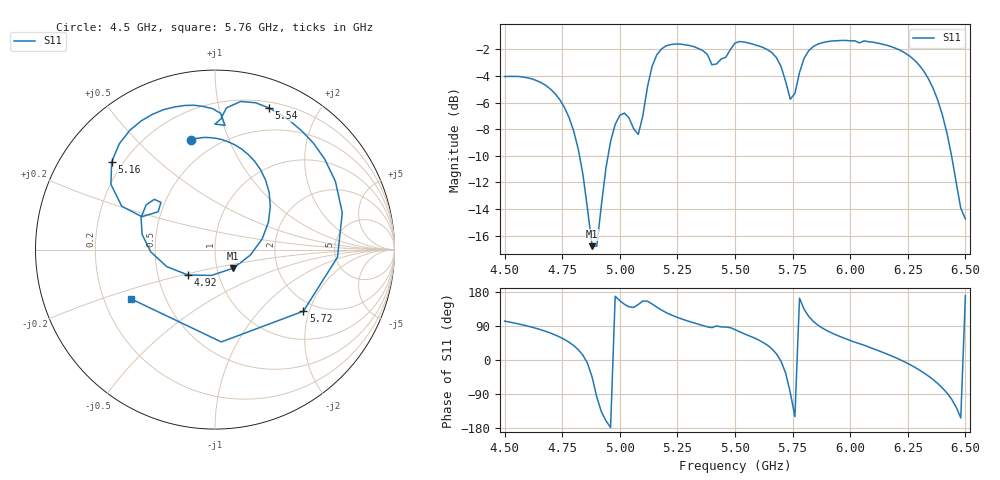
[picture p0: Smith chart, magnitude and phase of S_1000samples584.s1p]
! TOUCHSTONE file generated by CST MICROWAVE STUDIO
! Date and time: Fri Oct 28 16:41:40 2022
! Project name: L.cst
! Parameters = {Di=1.27; Epsilon_r=1.56; InnerDiameter=1.27; Length=2; Lf=10; Lg=60; OuterConductorThickness=0.2921; OuterDiameter=3.6; Wf=3; Wp=41.2; de=1.5; df=6.8; g=0.8; gx=0.94312; gy=0.482222; h=2.34; hf=1.524; px=14.6622; py=9.86047; w=9.7; wx=13.719; wy=9.37824}
! Header version: 2018
! Port assignment regex: !\s*Touchstone port\s*([0-9]+)\s*=\s*(CST MWS port|CST DS port)\s*([0-9]+|Zmin|Zmax)\s*\(\"(.*)\"\)(\s*mode\s*([0-9]+))?.*
! Touchstone port assignment:
! Touchstone port 1 = CST MWS port 1 ("")
# GHz S DB R 50
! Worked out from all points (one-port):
!   101 points, 4.5 GHz to 6.5 GHz, reference 50 ohm
!   lowest |S11| = -16.8 dB at 4.88 GHz (marker M1), VSWR 1.34, Z = 59.8 - j12.6 ohm
!   |S11| at or under -10 dB: 4.825 GHz to 4.949 GHz (124 MHz wide, 2.54 % of centre); 6.44 GHz to end of sweep
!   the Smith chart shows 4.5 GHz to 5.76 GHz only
!   S11 on the Smith chart (normalised r, x): 4.5 GHz: 0.36, +0.74; 4.92 GHz: 0.71, -0.21; 5.16 GHz: 0.16, +0.36; 5.54 GHz: 0.26, +1.42; 5.72 GHz: 1.70, -1.83; 5.76 GHz: 0.32, -0.25
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4.5  -4.05 102.5
4.66  -4.52 79.3
4.76  -6.38 54.1
4.82  -9.53 27.0
4.88  -16.78 -45.5
4.92  -13.72 -136.6
5  -6.96 156.6
5.06  -7.96 138.9
5.1  -7.00 155.8
5.16  -2.44 139.7
5.26  -1.61 110.2
5.4  -3.17 85.4
5.5  -1.54 80.2
5.54  -1.47 69.2
5.66  -2.26 29.5
5.7  -3.30 -3.5
5.72  -4.43 -34.9
5.74  -5.75 -86.1
5.76  -5.32 -149.6
5.78  -3.75 163.1
5.8  -2.68 133.9
5.84  -1.80 101.8
6  -1.37 51.5
6.14  -1.62 20.5
6.26  -2.54 -12.4
6.38  -5.82 -62.0
6.44  -10.00 -103.2
6.5  -14.73 169.9
